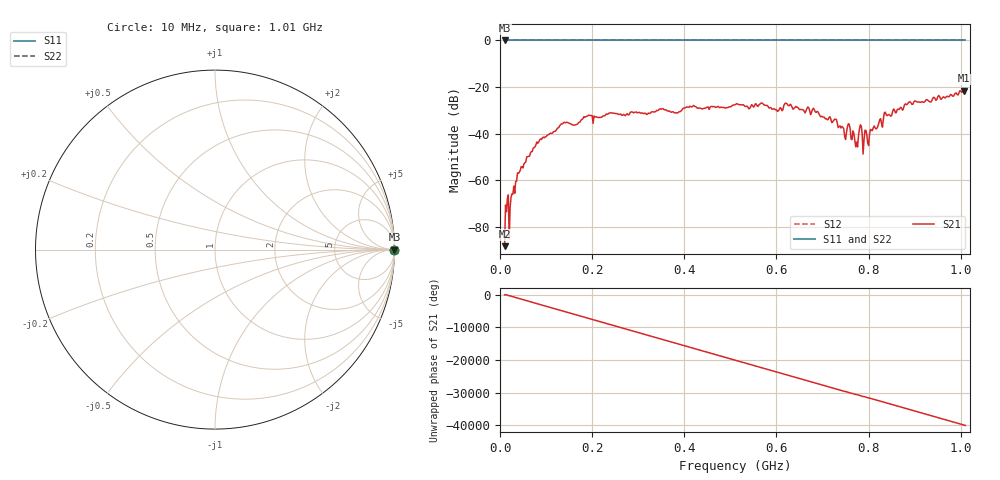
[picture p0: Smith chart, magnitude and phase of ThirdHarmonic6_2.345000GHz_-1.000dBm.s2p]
! 8/17/2025 3:29:44 AM
! C:\ANRITSUVNA\TEMP\TEMP.S2P
! CHANNEL.1
! TR.MEASUREMENT
! RAW.DATA
! RF.CORRECTION.OFF
! AVERAGING.OFF
! IF.BANDWIDTH: 5KHZ
! SWEEPTYPE:  FREQ.SWEEP(Linear)
! Reference Plane Port Info
! PORT:  PORT1  PORT2
! DISTANCE:  0  m  0  m
! TIME:  0  s  0  s
! PHASE.OFFSET:  0  deg.  0  deg.
! LOSS:  0  dB  0  dB
! REF.LOSS:  0  dB  0  dB
! REF.FREQ:  0  Hz  0  Hz
! Power Info
! POWER:  -20  dBm  -20  dBm
! EFF.POWER:  -20  dBm  -20  dBm
! SOURCE.ATTEN:  0  dB  0  dB
! TEST.ATTEN:  0  dB  0  dB
# GHZ S RI R 50.0
! FREQ.GHZ  S11RE  S11IM  S21RE  S21IM  S12RE  S12IM  S22RE  S22IM
!; PortSelection: Port_12
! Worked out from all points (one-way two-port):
!   501 points, 10 MHz to 1.01 GHz, reference 50 ohm
!   highest |S21| = -21.53 dB at 1.006 GHz (marker M1); lowest = -88.3 dB at 10 MHz (marker M2)
!   lowest |S11| = 0.0 dB at 10 MHz (marker M3)
!   |S11| at or under -10 dB: nowhere
!   |S22| runs from 0.0 to 0.0 dB; largest |S21 - S12| = 1.1
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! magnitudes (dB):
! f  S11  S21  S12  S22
! 10 MHz  0.0  -88.3  0.0  0.0
! 14 MHz  0.0  -73.5  0.0  0.0
! 24 MHz  0.0  -67.4  0.0  0.0
! 42 MHz  0.0  -56.6  0.0  0.0
! 76 MHz  0.0  -45.7  0.0  0.0
! 136 MHz  0.0  -35.7  0.0  0.0
! 178 MHz  0.0  -33.9  0.0  0.0
! 344 MHz  0.0  -29.9  0.0  0.0
! 510 MHz  0.0  -27.6  0.0  0.0
! 602 MHz  0.0  -30.4  0.0  0.0
! 622 MHz  0.0  -27.0  0.0  0.0
! 678 MHz  0.0  -29.7  0.0  0.0
! 728 MHz  0.0  -33.9  0.0  0.0
! 748 MHz  0.0  -41.2  0.0  0.0
! 756 MHz  0.0  -35.7  0.0  0.0
! 774 MHz  0.0  -43.6  0.0  0.0
! 782 MHz  0.0  -36.2  0.0  0.0
! 800 MHz  0.0  -45.1  0.0  0.0
! 844 MHz  0.0  -31.8  0.0  0.0
! 888 MHz  0.0  -26.4  0.0  0.0
! 1.006 GHz  0.0  -21.5  0.0  0.0
! 1.01 GHz  0.0  -22.6  0.0  0.0
